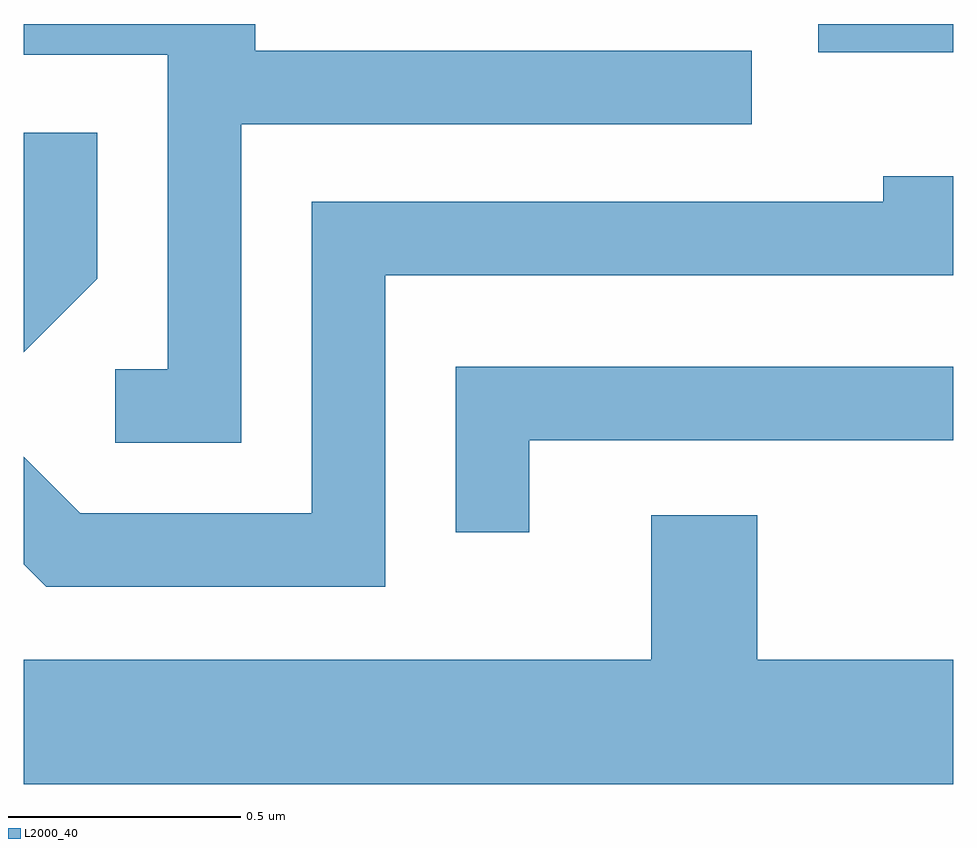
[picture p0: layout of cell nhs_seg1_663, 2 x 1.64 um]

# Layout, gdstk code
import gdstk
lib = gdstk.Library(unit=1e-6, precision=1e-09)
def R(c, l, rs):  # rectangles x0, y0, x1, y1
    for r in rs: c.add(gdstk.rectangle(r[:2], r[2:], *l))
def P(c, l, *ps):  # polygons
    for p in ps: c.add(gdstk.Polygon(p, *l))
L2000_40 = (2000, 40)

nhs_seg1_663 = lib.new_cell('nhs_seg1_663')
R(nhs_seg1_663, L2000_40, [(191.321,956.651,191.611,956.712)])
P(nhs_seg1_663, L2000_40, [(190.079,956.496),(191.178,956.496),(191.178,956.654),(190.109,956.654),(190.109,956.712),(189.611,956.712),(189.611,956.646),(189.921,956.646),(189.921,955.969),(189.808,955.969),(189.808,955.811),(190.079,955.811)],
  [(189.769,956.164),(189.769,956.478),(189.611,956.478),(189.611,956.005)],
  [(190.389,956.171),(191.611,956.171),(191.611,956.384),(191.461,956.384),(191.461,956.329),(190.231,956.329),(190.231,955.659),(189.732,955.659),(189.611,955.78),(189.611,955.549),(189.659,955.501),(190.389,955.501)],
  [(190.699,955.816),(191.611,955.816),(191.611,955.974),(190.541,955.974),(190.541,955.618),(190.699,955.618)],
  [(191.611,955.344),(191.189,955.344),(191.189,955.654),(190.961,955.654),(190.961,955.344),(189.611,955.344),(189.611,955.076),(191.611,955.076)])

lib.write_gds('nhs_seg1_663.gds')
